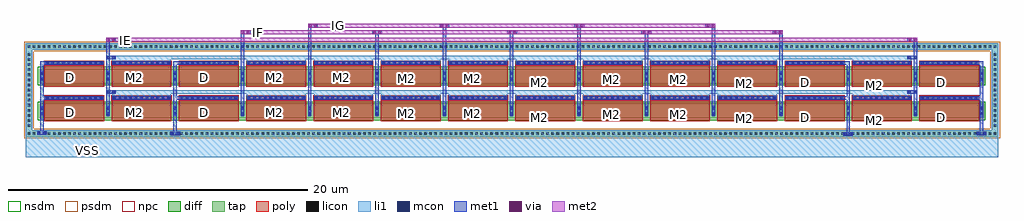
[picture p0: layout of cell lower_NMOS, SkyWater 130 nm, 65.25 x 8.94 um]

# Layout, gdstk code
from math import pi, radians
import gdstk
lib = gdstk.Library(unit=1e-6, precision=1e-09)
def R(c, l, rs):  # rectangles x0, y0, x1, y1
    for r in rs: c.add(gdstk.rectangle(r[:2], r[2:], *l))
def A(c, l, x, y, w, h, nx, ny, dx, dy):  # array of equal rectangles
    R(c, l, [(x+i*dx, y+j*dy, x+i*dx+w, y+j*dy+h) for i in range(nx) for j in range(ny)])
diff = (65, 20)
tap = (65, 44)
poly = (66, 20)
licon = (66, 44)
li1 = (67, 20)
mcon = (67, 44)
met1 = (68, 20)
via = (68, 44)
met2 = (69, 20)
nsdm = (93, 44)
psdm = (94, 20)
npc = (95, 20)

nfet_1 = lib.new_cell('nfet$1')
R(nfet_1, diff, [(0,0,63.1,1)])
A(nfet_1, poly, 0.3, -0.2, 4, 1.4, 14, 1, 4.5, 0)
A(nfet_1, poly, 0.3, 1.2, 4, 0.33, 14, 1, 4.5, 0)
A(nfet_1, licon, 4.465, 0.235, 0.17, 0.17, 13, 2, 4.5, 0.36)
A(nfet_1, licon, 0.415, 1.28, 0.17, 0.17, 11, 1, 0.36, 0)
A(nfet_1, licon, 4.915, 1.28, 0.17, 0.17, 11, 1, 0.36, 0)
A(nfet_1, licon, 9.415, 1.28, 0.17, 0.17, 11, 1, 0.36, 0)
A(nfet_1, licon, 13.915, 1.28, 0.17, 0.17, 11, 1, 0.36, 0)
A(nfet_1, licon, 18.415, 1.28, 0.17, 0.17, 11, 1, 0.36, 0)
A(nfet_1, licon, 22.915, 1.28, 0.17, 0.17, 11, 1, 0.36, 0)
A(nfet_1, licon, 27.415, 1.28, 0.17, 0.17, 11, 1, 0.36, 0)
A(nfet_1, licon, 31.915, 1.28, 0.17, 0.17, 11, 1, 0.36, 0)
A(nfet_1, licon, 36.415, 1.28, 0.17, 0.17, 11, 1, 0.36, 0)
A(nfet_1, licon, 40.915, 1.28, 0.17, 0.17, 11, 1, 0.36, 0)
A(nfet_1, licon, 45.415, 1.28, 0.17, 0.17, 11, 1, 0.36, 0)
A(nfet_1, licon, 49.915, 1.28, 0.17, 0.17, 11, 1, 0.36, 0)
A(nfet_1, licon, 54.415, 1.28, 0.17, 0.17, 11, 1, 0.36, 0)
A(nfet_1, licon, 58.915, 1.28, 0.17, 0.17, 11, 1, 0.36, 0)
R(nfet_1, licon, [(0.065,0.235,0.235,0.405), (62.865,0.235,63.035,0.405), (0.065,0.595,0.235,0.765), (62.865,0.595,63.035,0.765)])
A(nfet_1, li1, 4.465, 0.155, 0.17, 0.69, 13, 1, 4.5, 0)
A(nfet_1, li1, 0.335, 1.28, 3.93, 0.17, 14, 1, 4.5, 0)
R(nfet_1, li1, [(0.065,0.155,0.235,0.845), (62.865,0.155,63.035,0.845)])
A(nfet_1, mcon, 4.465, 0.235, 0.17, 0.17, 13, 2, 4.5, 0.36)
A(nfet_1, mcon, 0.415, 1.28, 0.17, 0.17, 11, 1, 0.36, 0)
A(nfet_1, mcon, 4.915, 1.28, 0.17, 0.17, 11, 1, 0.36, 0)
A(nfet_1, mcon, 9.415, 1.28, 0.17, 0.17, 11, 1, 0.36, 0)
A(nfet_1, mcon, 13.915, 1.28, 0.17, 0.17, 11, 1, 0.36, 0)
A(nfet_1, mcon, 18.415, 1.28, 0.17, 0.17, 11, 1, 0.36, 0)
A(nfet_1, mcon, 22.915, 1.28, 0.17, 0.17, 11, 1, 0.36, 0)
A(nfet_1, mcon, 27.415, 1.28, 0.17, 0.17, 11, 1, 0.36, 0)
A(nfet_1, mcon, 31.915, 1.28, 0.17, 0.17, 11, 1, 0.36, 0)
A(nfet_1, mcon, 36.415, 1.28, 0.17, 0.17, 11, 1, 0.36, 0)
A(nfet_1, mcon, 40.915, 1.28, 0.17, 0.17, 11, 1, 0.36, 0)
A(nfet_1, mcon, 45.415, 1.28, 0.17, 0.17, 11, 1, 0.36, 0)
A(nfet_1, mcon, 49.915, 1.28, 0.17, 0.17, 11, 1, 0.36, 0)
A(nfet_1, mcon, 54.415, 1.28, 0.17, 0.17, 11, 1, 0.36, 0)
A(nfet_1, mcon, 58.915, 1.28, 0.17, 0.17, 11, 1, 0.36, 0)
R(nfet_1, mcon, [(0.065,0.235,0.235,0.405), (62.865,0.235,63.035,0.405), (0.065,0.595,0.235,0.765), (62.865,0.595,63.035,0.765)])
A(nfet_1, met1, 4.435, 0.175, 0.23, 0.65, 13, 1, 4.5, 0)
A(nfet_1, met1, 0.355, 1.25, 3.89, 0.23, 14, 1, 4.5, 0)
R(nfet_1, met1, [(0.035,0.175,0.265,0.825), (62.835,0.175,63.065,0.825)])
R(nfet_1, nsdm, [(-0.125,-0.125,63.225,1.125)])
A(nfet_1, npc, 0.29, 1.19, 4.02, 0.35, 14, 1, 4.5, 0)

vias_gen_1 = lib.new_cell('vias_gen$1')
R(vias_gen_1, li1, [(0,0,0.66,0.23)])
R(vias_gen_1, mcon, [(0.065,0.03,0.235,0.2), (0.425,0.03,0.595,0.2)])
R(vias_gen_1, met1, [(0,0,0.66,0.23)])

vias_gen_6 = lib.new_cell('vias_gen$6')
R(vias_gen_6, tap, [(0,0,0.41,5.4)])
A(vias_gen_6, licon, 0.12, 0.235, 0.17, 0.17, 1, 15, 0, 0.34)
R(vias_gen_6, li1, [(0,0,0.41,5.4)])
R(vias_gen_6, psdm, [(-0.125,-0.125,0.535,5.525)])

vias_gen_9 = lib.new_cell('vias_gen$9')
R(vias_gen_9, tap, [(0,0,0.41,65)])
A(vias_gen_9, licon, 0.12, 0.115, 0.17, 0.17, 1, 191, 0, 0.34)
R(vias_gen_9, li1, [(0,0,0.41,65)])
R(vias_gen_9, psdm, [(-0.125,-0.125,0.535,65.125)])

vias_gen_10 = lib.new_cell('vias_gen$10')
R(vias_gen_10, li1, [(0,0,0.65,0.23)])
R(vias_gen_10, mcon, [(0.06,0.03,0.23,0.2), (0.42,0.03,0.59,0.2)])
R(vias_gen_10, met1, [(0,0,0.65,0.23)])

vias_gen_7 = lib.new_cell('vias_gen$7')
R(vias_gen_7, met1, [(0,0,0.66,0.26)])
R(vias_gen_7, via, [(0.095,0.055,0.245,0.205), (0.415,0.055,0.565,0.205)])
R(vias_gen_7, met2, [(0,0,0.66,0.26)])

lower_nmos = lib.new_cell('lower_NMOS')
A(lower_nmos, li1, 13.53, -0.925, 3.93, 0.42, 8, 2, 4.5, 2.33)
R(lower_nmos, li1, [(-1.235,-4.975,63.765,-3.17), (4.53,-0.925,8.46,-0.505), (54.03,-0.925,57.96,-0.505), (4.79,-0.735,58.245,-0.505), (4.53,1.405,8.46,1.825), (54.03,1.405,57.96,1.825), (4.79,1.595,58.245,1.825)])
A(lower_nmos, met1, 17.63, -1.55, 0.23, 5.51, 3, 1, 9, 0)
A(lower_nmos, met1, 22.13, -1.55, 0.23, 5.055, 4, 1, 9, 0)
A(lower_nmos, met1, 13.13, 0.78, 0.23, 1.11, 9, 1, 4.5, 0)
R(lower_nmos, met1, [(53.63,-3.465,53.86,-0.895), (-0.27,-3.355,-0.04,-1.55), (8.63,-3.35,8.86,-2.2), (62.53,-3.295,62.76,1.435), (-0.27,-2.765,-0.04,0.78), (8.63,-2.65,8.86,0.13), (53.63,-2.605,53.86,1.435), (-0.27,-1.55,-0.04,-0.895), (4.13,-1.55,4.36,2.76), (8.63,-1.55,8.86,-1.005), (13.13,-1.55,13.36,3.245), (44.63,-1.55,44.86,3.765), (58.13,-1.55,58.36,2.76), (-0.27,-1.125,0.05,-0.895), (8.63,-1.125,9.05,-0.895), (53.44,-1.125,53.86,-0.895), (62.44,-1.125,62.76,-0.895), (-0.27,0.78,-0.04,1.435), (4.13,0.78,4.36,1.825), (8.63,0.78,8.86,1.325), (58.13,0.78,58.36,1.825), (-0.27,1.205,0.05,1.435), (8.63,1.205,9.05,1.435), (53.44,1.205,53.86,1.435), (62.44,1.205,62.76,1.435)])
R(lower_nmos, met2, [(4.79,2.76,58.36,3.02), (13.79,3.245,49.15,3.505), (17.63,3.7,44.2,3.96)])
lower_nmos.add(gdstk.Reference(nfet_1, (-0.305,-0.045)))
lower_nmos.add(gdstk.Reference(vias_gen_1, (4.13,1.595)))
lower_nmos.add(gdstk.Reference(vias_gen_1, (57.7,1.595)))
lower_nmos.add(gdstk.Reference(vias_gen_1, (4.13,-0.735)))
lower_nmos.add(gdstk.Reference(vias_gen_1, (57.7,-0.735)))
lower_nmos.add(gdstk.Reference(vias_gen_6, (-1.235,-3.175)))
lower_nmos.add(gdstk.Reference(vias_gen_9, (-1.235,-3.175), rotation=3*pi/2))
lower_nmos.add(gdstk.Reference(vias_gen_6, (63.355,-3.175)))
lower_nmos.add(gdstk.Reference(vias_gen_9, (-1.235,2.635), rotation=3*pi/2))
lower_nmos.add(gdstk.Reference(vias_gen_10, (-0.49,-3.465)))
lower_nmos.add(gdstk.Reference(vias_gen_10, (8.42,-3.495)))
lower_nmos.add(gdstk.Reference(vias_gen_10, (53.405,-3.52)))
lower_nmos.add(gdstk.Reference(vias_gen_10, (62.32,-3.49)))
lower_nmos.add(gdstk.Reference(vias_gen_7, (4.13,2.76)))
lower_nmos.add(gdstk.Reference(vias_gen_7, (57.7,2.76)))
lower_nmos.add(gdstk.Reference(vias_gen_7, (13.13,3.245)))
lower_nmos.add(gdstk.Reference(vias_gen_7, (48.7,3.245)))
lower_nmos.add(gdstk.Reference(vias_gen_7, (44.2,3.7)))
lower_nmos.add(gdstk.Reference(vias_gen_7, (17.63,3.7)))
lower_nmos.add(gdstk.Reference(vias_gen_7, (21.91,3.245)))
lower_nmos.add(gdstk.Reference(vias_gen_7, (39.915,3.245)))
lower_nmos.add(gdstk.Reference(vias_gen_7, (26.42,3.7)))
lower_nmos.add(gdstk.Reference(vias_gen_7, (35.425,3.7)))
lower_nmos.add(gdstk.Reference(vias_gen_7, (30.94,3.245)))
lower_nmos.add(gdstk.Reference(nfet_1, (-0.305,-2.375)))
lower_nmos.add(gdstk.Label('D', (1.77,0.35), layer=68, texttype=5))
lower_nmos.add(gdstk.Label('M2', (6.06,0.375), layer=68, texttype=5))
lower_nmos.add(gdstk.Label('D', (10.71,0.385), layer=68, texttype=5))
lower_nmos.add(gdstk.Label('M2', (15.415,0.375), layer=68, texttype=5))
lower_nmos.add(gdstk.Label('M2', (19.85,0.375), layer=68, texttype=5))
lower_nmos.add(gdstk.Label('M2', (24.2,0.285), layer=68, texttype=5))
lower_nmos.add(gdstk.Label('M2', (28.635,0.285), layer=68, texttype=5))
lower_nmos.add(gdstk.Label('M2', (33.105,0.01), layer=68, texttype=5))
lower_nmos.add(gdstk.Label('M2', (37.93,0.23), layer=68, texttype=5))
lower_nmos.add(gdstk.Label('M2', (42.365,0.23), layer=68, texttype=5))
lower_nmos.add(gdstk.Label('M2', (46.835,-0.045), layer=68, texttype=5))
lower_nmos.add(gdstk.Label('D', (50.87,0.045), layer=68, texttype=5))
lower_nmos.add(gdstk.Label('M2', (55.53,-0.16), layer=68, texttype=5))
lower_nmos.add(gdstk.Label('D', (59.95,0), layer=68, texttype=5))
lower_nmos.add(gdstk.Label('D', (1.77,-1.98), layer=68, texttype=5))
lower_nmos.add(gdstk.Label('M2', (6.06,-1.955), layer=68, texttype=5))
lower_nmos.add(gdstk.Label('D', (10.71,-1.945), layer=68, texttype=5))
lower_nmos.add(gdstk.Label('M2', (15.415,-1.955), layer=68, texttype=5))
lower_nmos.add(gdstk.Label('M2', (19.85,-1.955), layer=68, texttype=5))
lower_nmos.add(gdstk.Label('M2', (24.2,-2.045), layer=68, texttype=5))
lower_nmos.add(gdstk.Label('M2', (28.635,-2.045), layer=68, texttype=5))
lower_nmos.add(gdstk.Label('M2', (33.105,-2.32), layer=68, texttype=5))
lower_nmos.add(gdstk.Label('M2', (37.93,-2.1), layer=68, texttype=5))
lower_nmos.add(gdstk.Label('M2', (42.365,-2.1), layer=68, texttype=5))
lower_nmos.add(gdstk.Label('M2', (46.835,-2.375), layer=68, texttype=5))
lower_nmos.add(gdstk.Label('D', (50.87,-2.285), layer=68, texttype=5))
lower_nmos.add(gdstk.Label('M2', (55.53,-2.49), layer=68, texttype=5))
lower_nmos.add(gdstk.Label('D', (59.95,-2.33), layer=68, texttype=5))
lower_nmos.add(gdstk.Label('VSS', (2.89,-4.53), layer=67, texttype=16))
lower_nmos.add(gdstk.Label('IE', (5.41,2.83), layer=69, texttype=16))
lower_nmos.add(gdstk.Label('IF', (14.33,3.35), layer=69, texttype=16))
lower_nmos.add(gdstk.Label('IG', (19.695,3.845), layer=69, texttype=16))

lib.write_gds('lower_NMOS.gds')
